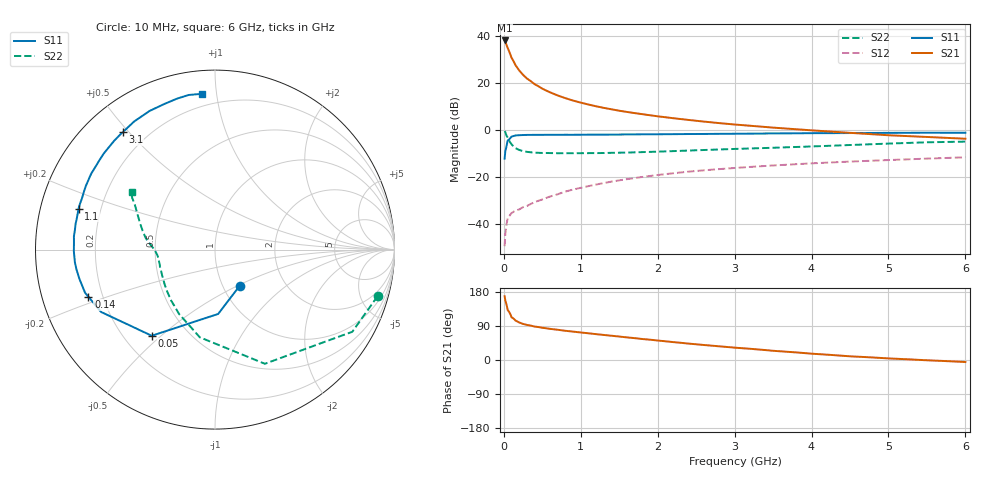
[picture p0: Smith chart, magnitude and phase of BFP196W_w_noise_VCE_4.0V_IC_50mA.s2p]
! (c) 2017  Infineon Technologies AG, Munich
! Infineon Technologies  Discrete & RF Semiconductors
! BFP196W
! VCE =  4.0 V,  IC =  50 mA
! Common Emitter S-Parameters:  Jan 2017
# GHz  S  MA  R  50
!  f  S11  S21  S12  S22
! GHz  MAG  ANG  MAG  ANG  MAG  ANG  MAG  ANG
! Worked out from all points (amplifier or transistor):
!   77 points, 10 MHz to 6 GHz, reference 50 ohm
!   highest |S21| = 38.2 dB at 10 MHz (marker M1)
!   |S21| within 3 dB of that: start of sweep to 47.51 MHz
!   unconditionally stable (mu >= 1): 644 MHz to 3.282 GHz
!   at 130 MHz: K = 0.43, MSG = 32.0 dB, |S12| = -34.8 dB
!   at 2.2 GHz: K = 1.04, MAG = 10.6 dB, |S12| = -18.5 dB
!   at 6 GHz: K = 0.94, MSG = 4.0 dB, |S12| = -11.7 dB
!   lowest NFmin = 1.36 dB at 450 MHz
!   S11 on the Smith chart (normalised r, x): 10 MHz: 1.20, -0.51; 50 MHz: 0.31, -0.47; 140 MHz: 0.15, -0.18; 1.1 GHz: 0.12, +0.14; 3.1 GHz: 0.11, +0.48; 6 GHz: 0.13, +0.91
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0.01  0.2437 -55.4  81.55 168.3  0.0033 74.5  0.9424 -16.0
0.02  0.359 -87.2  76.77 156.4  0.0063 67.7  0.8916 -30.9
0.05  0.5955 -126.3  56.44 131.9  0.013 51.9  0.6942 -66.4
0.1  0.7236 -151.3  34.84 112.9  0.0168 42.6  0.496 -99.8
0.14  0.753 -159.6  26.46 106.6  0.0185 40.7  0.4236 -114.7
0.15  0.7627 -161.6  24.44 104.3  0.0189 40.3  0.4109 -119.1
0.2  0.7729 -167.8  18.65 99.0  0.0201 43.8  0.374 -130.9
0.25  0.7797 -171.9  15.03 95.2  0.0225 45.9  0.3528 -139.5
0.3  0.7839 -174.8  12.57 92.6  0.0238 48.8  0.3408 -145.5
0.4  0.7865 -179.4  9.514 88.3  0.0289 53.1  0.3283 -153.5
0.5  0.7866 177.4  7.616 85.1  0.0328 56.5  0.3229 -158.7
0.6  0.7895 174.6  6.369 82.2  0.0379 58.7  0.3213 -162.5
0.7  0.7881 172.2  5.456 79.8  0.0423 60.6  0.3187 -165.1
0.9  0.7893 167.5  4.241 74.9  0.0534 61.6  0.3189 -168.9
1.1  0.7939 163.3  3.493 70.5  0.0632 62.4  0.3203 -171.8
1.3  0.7942 159.2  2.962 66.1  0.0734 62.3  0.3221 -174.2
1.5  0.7992 155.7  2.578 61.9  0.0839 61.3  0.3273 -176.5
2.1  0.8111 144.4  1.87 49.4  0.114 57.5  0.3488 177.8
3.1  0.832 128.1  1.269 31.1  0.1583 48.6  0.3978 169.1
4.1  0.8545 114.0  0.958 15.4  0.1971 40.1  0.4507 159.2
5.1  0.8682 103.2  0.758 3.3  0.231 32.0  0.5183 150.2
6  0.8711 94.8  0.65 -5.3  0.2607 25.0  0.5639 145.5
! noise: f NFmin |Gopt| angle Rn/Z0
0.45  1.36  0.51  -177  0.05
0.9  1.48  0.55  -171  0.07
1.9  2.3  0.69  -149  0.16
2.4  2.7  0.73  -144  0.26
